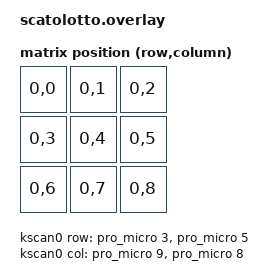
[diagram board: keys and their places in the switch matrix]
#include <dt-bindings/zmk/matrix_transform.h>
#include <physical_layouts.dtsi>


/ {

  chosen {
    zmk,kscan = &kscan0;
    zmk,physical-layout = &physical_layout0;
  };

  /* kscan0: kscan0 { */
  /*       compatible = "zmk,kscan-gpio-direct"; */
  /*       wakeup-source; */
  /**/
  /*       input-gpios */
  /*       = <&pro_micro 9 (GPIO_ACTIVE_LOW | GPIO_PULL_UP)> */
  /*       , <&pro_micro 6 (GPIO_ACTIVE_LOW | GPIO_PULL_UP)> */
  /*       , <&pro_micro 5 (GPIO_ACTIVE_LOW | GPIO_PULL_UP)> */
  /*       , <&pro_micro 4 (GPIO_ACTIVE_LOW | GPIO_PULL_UP)> */
  /*       , <&pro_micro 14 (GPIO_ACTIVE_LOW | GPIO_PULL_UP)> */
  /*       , <&pro_micro 15 (GPIO_ACTIVE_LOW | GPIO_PULL_UP)> */
  /*       , <&pro_micro 18 (GPIO_ACTIVE_LOW | GPIO_PULL_UP)> */
  /*       , <&pro_micro 21 (GPIO_ACTIVE_LOW | GPIO_PULL_UP)> */
  /*       ; */
  /* }; */
  /**/

  kscan0: ksan0 {
        compatible = "zmk,kscan-gpio-matrix";
        wakeup-source;
        diode-direction = "col2row";
        col-gpios
            = <&pro_micro 9 GPIO_ACTIVE_LOW>
            , <&pro_micro 8 GPIO_ACTIVE_LOW>
            ;
        row-gpios
            = <&pro_micro 3 GPIO_ACTIVE_HIGH>
            , <&pro_micro 5 GPIO_ACTIVE_HIGH>
            ;

  };
    
  default_transform: matrix_transform {
        compatible = "zmk,matrix-transform";
        columns = <2>;
        rows = <2>;
        map = <
        //   Key 1 | Key 2 | Key 3
            RC(0,0) RC(0,1) RC(0,2)
        //   Key 4 | Key 5 | Key 6
            RC(0,3) RC(0,4) RC(0,5)
        //   Key 7 | Key 8 | Key 9
            RC(0,6) RC(0,7) RC(0,8)
        >;
  };

  physical_layout0: physical_layout_0 {
        compatible = "zmk,physical-layout";
        display-name = "Default";
        transform = <&default_transform>;
        kscan = <&kscan0>;

        keys  //                     w   h    x    y     rot    rx    ry
            = <&key_physical_attrs 100 100    0    0       0     0     0>
            , <&key_physical_attrs 100 100  100    0       0     0     0>
            , <&key_physical_attrs 100 100  200    0       0     0     0>
            , <&key_physical_attrs 100 100  300    0       0     0     0>
            , <&key_physical_attrs 100 100    0  100       0     0     0>
            , <&key_physical_attrs 100 100  100  100       0     0     0>
            , <&key_physical_attrs 100 100  200  100       0     0     0>
            , <&key_physical_attrs 100 100  300  100       0     0     0>
            , <&key_physical_attrs 100 100    0  200       0     0     0>
            , <&key_physical_attrs 100 100  100  200       0     0     0>
            , <&key_physical_attrs 100 100  200  200       0     0     0>
            , <&key_physical_attrs 100 100  300  200       0     0     0>            
        ;
  };

/*   encoder0: encoder_ec25 { */
/*     compatible = "alps,ec11"; */
/*     a-gpios = <&pro_micro_d 7 (GPIO_ACTIVE_LOW | GPIO_PULL_UP)>; */
/*     b-gpios = <&pro_micro_d 8 (GPIO_ACTIVE_LOW | GPIO_PULL_UP)>; */
/*     steps = <20>; */
/*     status = "okay"; */
/*     resolution = <1>; */
/*   }; */
/**/
/*   encoder1: encoder_wheel_vertical { */
/*     compatible = "alps,ec11"; */
/*     a-gpios = <&pro_micro_d 19 (GPIO_ACTIVE_LOW | GPIO_PULL_UP)>; */
/*     b-gpios = <&pro_micro_d 20 (GPIO_ACTIVE_LOW | GPIO_PULL_UP)>; */
/*     steps = <24>; */
/*     status = "okay"; */
/*     resolution = <1>; */
/*   }; */
/**/
/*   encoder2: encoder_wheel_horizontal { */
/*     compatible = "alps,ec11"; */
/*     a-gpios = <&pro_micro_d 16 (GPIO_ACTIVE_LOW | GPIO_PULL_UP)>; */
/*     b-gpios = <&pro_micro_d 10 (GPIO_ACTIVE_LOW | GPIO_PULL_UP)>; */
/*     steps = <24>; */
/*     status = "okay"; */
/*     resolution = <1>; */
/*   }; */
/**/
/*   sensors { */
/*     compatible = "zmk,keymap-sensors"; */
/*     sensors = <&encoder0 &encoder1 &encoder2>; */
/*     first_encoder { */
/*         triggers-per-rotation = <10>; */
/*     }; */
/*     second_encoder { */
/*         triggers-per-rotation = <12>; */
/*     }; */
/*     third_encoder { */
/*         triggers-per-rotation = <12>; */
/*     }; */
/*   }; */
};
